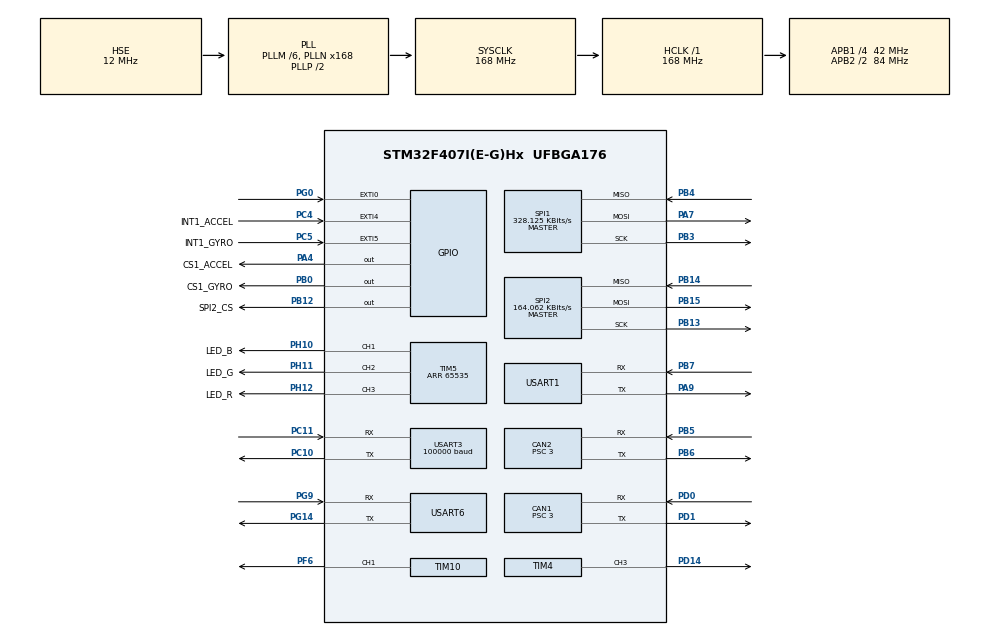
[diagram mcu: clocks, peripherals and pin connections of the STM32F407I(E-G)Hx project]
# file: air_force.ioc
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CAN1.BS1=CAN_BS1_10TQ
CAN1.BS2=CAN_BS2_3TQ
CAN1.CalculateBaudRate=1000000
CAN1.CalculateTimeBit=1000
CAN1.CalculateTimeQuantum=71.42857142857143
CAN1.Prescaler=3
CAN2.BS1=CAN_BS1_10TQ
CAN2.BS2=CAN_BS2_3TQ
CAN2.CalculateBaudRate=1000000
CAN2.CalculateTimeBit=1000
CAN2.CalculateTimeQuantum=71.42857142857143
CAN2.Prescaler=3
Dma.Request0=SPI1_RX
Dma.Request1=SPI1_TX
Dma.Request2=USART3_RX
Dma.Request3=USART6_RX
Dma.Request4=USART6_TX
Dma.SPI1_RX.0.Direction=DMA_PERIPH_TO_MEMORY
Dma.SPI1_RX.0.FIFOMode=DMA_FIFOMODE_DISABLE
Dma.SPI1_RX.0.Instance=DMA2_Stream2
Dma.SPI1_RX.0.MemDataAlignment=DMA_MDATAALIGN_BYTE
Dma.SPI1_RX.0.MemInc=DMA_MINC_ENABLE
Dma.SPI1_RX.0.Mode=DMA_NORMAL
Dma.SPI1_RX.0.PeriphDataAlignment=DMA_PDATAALIGN_BYTE
Dma.SPI1_RX.0.PeriphInc=DMA_PINC_DISABLE
Dma.SPI1_RX.0.Priority=DMA_PRIORITY_VERY_HIGH
Dma.SPI1_TX.1.Direction=DMA_MEMORY_TO_PERIPH
Dma.SPI1_TX.1.FIFOMode=DMA_FIFOMODE_DISABLE
Dma.SPI1_TX.1.Instance=DMA2_Stream3
Dma.SPI1_TX.1.MemDataAlignment=DMA_MDATAALIGN_BYTE
Dma.SPI1_TX.1.MemInc=DMA_MINC_ENABLE
Dma.SPI1_TX.1.Mode=DMA_NORMAL
Dma.SPI1_TX.1.PeriphDataAlignment=DMA_PDATAALIGN_BYTE
Dma.SPI1_TX.1.PeriphInc=DMA_PINC_DISABLE
Dma.SPI1_TX.1.Priority=DMA_PRIORITY_HIGH
Dma.USART3_RX.2.Direction=DMA_PERIPH_TO_MEMORY
Dma.USART3_RX.2.FIFOMode=DMA_FIFOMODE_DISABLE
Dma.USART3_RX.2.Instance=DMA1_Stream1
Dma.USART3_RX.2.MemDataAlignment=DMA_MDATAALIGN_BYTE
Dma.USART3_RX.2.MemInc=DMA_MINC_ENABLE
Dma.USART3_RX.2.Mode=DMA_CIRCULAR
Dma.USART3_RX.2.PeriphDataAlignment=DMA_PDATAALIGN_BYTE
Dma.USART3_RX.2.PeriphInc=DMA_PINC_DISABLE
Dma.USART3_RX.2.Priority=DMA_PRIORITY_HIGH
Dma.USART6_RX.3.Direction=DMA_PERIPH_TO_MEMORY
Dma.USART6_RX.3.FIFOMode=DMA_FIFOMODE_DISABLE
Dma.USART6_RX.3.Instance=DMA2_Stream1
Dma.USART6_RX.3.MemDataAlignment=DMA_MDATAALIGN_BYTE
Dma.USART6_RX.3.MemInc=DMA_MINC_ENABLE
Dma.USART6_RX.3.Mode=DMA_NORMAL
Dma.USART6_RX.3.PeriphDataAlignment=DMA_PDATAALIGN_BYTE
Dma.USART6_RX.3.PeriphInc=DMA_PINC_DISABLE
Dma.USART6_RX.3.Priority=DMA_PRIORITY_HIGH
Dma.USART6_TX.4.Direction=DMA_MEMORY_TO_PERIPH
Dma.USART6_TX.4.FIFOMode=DMA_FIFOMODE_DISABLE
Dma.USART6_TX.4.Instance=DMA2_Stream6
Dma.USART6_TX.4.MemDataAlignment=DMA_MDATAALIGN_BYTE
Dma.USART6_TX.4.MemInc=DMA_MINC_ENABLE
Dma.USART6_TX.4.Mode=DMA_NORMAL
Dma.USART6_TX.4.PeriphDataAlignment=DMA_PDATAALIGN_BYTE
Dma.USART6_TX.4.PeriphInc=DMA_PINC_DISABLE
Dma.USART6_TX.4.Priority=DMA_PRIORITY_MEDIUM
FREERTOS.INCLUDE_eTaskGetState=1
FREERTOS.INCLUDE_pcTaskGetTaskName=1
FREERTOS.INCLUDE_uxTaskGetStackHighWaterMark=1
FREERTOS.INCLUDE_uxTaskGetStackHighWaterMark2=1
FREERTOS.INCLUDE_vTaskCleanUpResources=1
FREERTOS.INCLUDE_xQueueGetMutexHolder=1
FREERTOS.INCLUDE_xSemaphoreGetMutexHolder=1
FREERTOS.INCLUDE_xTaskAbortDelay=1
FREERTOS.INCLUDE_xTaskGetCurrentTaskHandle=1
FREERTOS.INCLUDE_xTaskGetHandle=1
FREERTOS.Tasks01=defaultTask,0,128,StartDefaultTask,Default,NULL,Dynamic,NULL,NULL;led_task,-2,128,Led_Task,As weak,NULL,Dynamic,NULL,NULL;ins_task,2,1024,Ins_Task,As weak,NULL,Dynamic,NULL,NULL;calibrate_task,0,128,Calibrate_Task,As weak,NULL,Dynamic,NULL,NULL;buzzer_task,0,128,Buzzer_Task,As weak,NULL,Dynamic,NULL,NULL;PS2_Control,0,128,PS2_task,As weak,NULL,Dynamic,NULL,NULL;Move_Task,2,1024,move_task,As weak,NULL,Dynamic,NULL,NULL;ModeSet_Task,1,128,mode_set_task,As weak,NULL,Dynamic,NULL,NULL
Mcu.Family=STM32F4
Mcu.Name=STM32F407I(E-G)Hx
Mcu.Package=UFBGA176
NVIC.CAN1_RX0_IRQn=true\:5\:0\:false\:false\:true\:true\:true\:true\:true
NVIC.CAN2_RX0_IRQn=true\:5\:0\:false\:false\:true\:true\:true\:true\:true
NVIC.DMA1_Stream1_IRQn=true\:5\:0\:false\:false\:true\:true\:false\:true\:true
NVIC.DMA2_Stream1_IRQn=true\:5\:0\:false\:false\:true\:true\:false\:true\:true
NVIC.DMA2_Stream2_IRQn=true\:5\:0\:false\:false\:false\:true\:false\:true\:true
NVIC.DMA2_Stream3_IRQn=true\:5\:0\:false\:false\:true\:true\:false\:true\:true
NVIC.DMA2_Stream6_IRQn=true\:5\:0\:false\:false\:true\:true\:false\:true\:true
NVIC.EXTI0_IRQn=true\:5\:0\:true\:false\:true\:true\:true\:true\:true
NVIC.EXTI4_IRQn=true\:5\:0\:false\:false\:true\:true\:true\:true\:true
NVIC.EXTI9_5_IRQn=true\:5\:0\:false\:false\:true\:true\:true\:true\:true
NVIC.PriorityGroup=NVIC_PRIORITYGROUP_4
NVIC.TIM3_IRQn=true\:15\:0\:false\:false\:true\:false\:false\:true\:true
NVIC.TIM7_IRQn=true\:5\:0\:false\:false\:true\:true\:true\:true\:true
NVIC.TimeBase=TIM3_IRQn
NVIC.TimeBaseIP=TIM3
NVIC.USART1_IRQn=true\:5\:0\:false\:false\:true\:true\:true\:true\:true
NVIC.USART3_IRQn=true\:5\:0\:false\:false\:false\:true\:true\:true\:true
NVIC.USART6_IRQn=true\:5\:0\:false\:false\:false\:true\:true\:true\:true
PA13.Mode=Serial_Wire
PA13.Signal=SYS_JTMS-SWDIO
PA14.Mode=Serial_Wire
PA14.Signal=SYS_JTCK-SWCLK
PA4.GPIO_Label=CS1_ACCEL
PA4.GPIO_PuPd=GPIO_PULLUP
PA4.GPIO_Speed=GPIO_SPEED_FREQ_HIGH
PA4.PinState=GPIO_PIN_SET
PA4.Signal=GPIO_Output
PA7.GPIO_PuPd=GPIO_PULLUP
PA7.Mode=Full_Duplex_Master
PA7.Signal=SPI1_MOSI
PA9.Mode=Asynchronous
PA9.Signal=USART1_TX
PB0.GPIO_Label=CS1_GYRO
PB0.GPIO_PuPd=GPIO_PULLUP
PB0.GPIO_Speed=GPIO_SPEED_FREQ_HIGH
PB0.PinState=GPIO_PIN_SET
PB0.Signal=GPIO_Output
PB12.GPIO_Label=SPI2_CS
PB12.GPIO_PuPd=GPIO_PULLUP
PB12.GPIO_Speed=GPIO_SPEED_FREQ_MEDIUM
PB12.PinState=GPIO_PIN_SET
PB12.Signal=GPIO_Output
PB13.GPIO_PuPd=GPIO_PULLUP
PB13.Mode=Full_Duplex_Master
PB13.Signal=SPI2_SCK
PB14.GPIO_PuPd=GPIO_PULLUP
PB14.Mode=Full_Duplex_Master
PB14.Signal=SPI2_MISO
PB15.GPIO_PuPd=GPIO_PULLUP
PB15.Mode=Full_Duplex_Master
PB15.Signal=SPI2_MOSI
PB3.GPIO_PuPd=GPIO_PULLUP
PB3.Mode=Full_Duplex_Master
PB3.Signal=SPI1_SCK
PB4.GPIO_PuPd=GPIO_PULLUP
PB4.Mode=Full_Duplex_Master
PB4.Signal=SPI1_MISO
PB5.Mode=CAN_Activate
PB5.Signal=CAN2_RX
PB6.Mode=CAN_Activate
PB6.Signal=CAN2_TX
PB7.Mode=Asynchronous
PB7.Signal=USART1_RX
PC10.Mode=Asynchronous
PC10.Signal=USART3_TX
PC11.Mode=Asynchronous
PC11.Signal=USART3_RX
PC4.GPIO_Label=INT1_ACCEL
PC4.GPIO_PuPd=GPIO_PULLUP
PC4.Signal=GPXTI4
PC5.GPIO_Label=INT1_GYRO
PC5.GPIO_PuPd=GPIO_PULLUP
PC5.Signal=GPXTI5
PD0.Mode=CAN_Activate
PD0.Signal=CAN1_RX
PD1.Mode=CAN_Activate
PD1.Signal=CAN1_TX
PD14.Signal=S_TIM4_CH3
PF6.GPIO_PuPd=GPIO_PULLUP
PF6.GPIO_Speed=GPIO_SPEED_FREQ_HIGH
PF6.Signal=S_TIM10_CH1
PG0.Signal=GPXTI0
PG14.Mode=Asynchronous
PG14.Signal=USART6_TX
PG9.Mode=Asynchronous
PG9.Signal=USART6_RX
PH0-OSC_IN.Mode=HSE-External-Oscillator
PH0-OSC_IN.Signal=RCC_OSC_IN
PH1-OSC_OUT.Mode=HSE-External-Oscillator
PH1-OSC_OUT.Signal=RCC_OSC_OUT
PH10.GPIO_Label=LED_B
PH10.GPIO_PuPd=GPIO_PULLUP
PH10.Signal=S_TIM5_CH1
PH11.GPIO_Label=LED_G
PH11.GPIO_PuPd=GPIO_PULLUP
PH11.Signal=S_TIM5_CH2
PH12.GPIO_Label=LED_R
PH12.GPIO_PuPd=GPIO_PULLUP
PH12.Signal=S_TIM5_CH3
ProjectManager.HeapSize=0x200
ProjectManager.StackSize=0x400
ProjectManager.TargetToolchain=MDK-ARM V5
RCC.48MHZClocksFreq_Value=84000000
RCC.AHBFreq_Value=168000000
RCC.APB1CLKDivider=RCC_HCLK_DIV4
RCC.APB1Freq_Value=42000000
RCC.APB1TimFreq_Value=84000000
RCC.APB2CLKDivider=RCC_HCLK_DIV2
RCC.APB2Freq_Value=84000000
RCC.APB2TimFreq_Value=168000000
RCC.CortexFreq_Value=168000000
RCC.HCLKFreq_Value=168000000
RCC.HSE_VALUE=12000000
RCC.HSI_VALUE=16000000
RCC.LSE_VALUE=32768
RCC.PLLM=6
RCC.PLLN=168
RCC.PLLSourceVirtual=RCC_PLLSOURCE_HSE
RCC.SYSCLKFreq_VALUE=168000000
RCC.SYSCLKSource=RCC_SYSCLKSOURCE_PLLCLK
RCC.VCOOutputFreq_Value=336000000
SH.S_TIM10_CH1.0=TIM10_CH1,PWM Generation1 CH1
SH.S_TIM4_CH3.0=TIM4_CH3,PWM Generation3 CH3
SH.S_TIM5_CH1.0=TIM5_CH1,PWM Generation1 CH1
SH.S_TIM5_CH2.0=TIM5_CH2,PWM Generation2 CH2
SH.S_TIM5_CH3.0=TIM5_CH3,PWM Generation3 CH3
SPI1.BaudRatePrescaler=SPI_BAUDRATEPRESCALER_256
SPI1.CLKPhase=SPI_PHASE_2EDGE
SPI1.CLKPolarity=SPI_POLARITY_HIGH
SPI1.CalculateBaudRate=328.125 KBits/s
SPI1.Direction=SPI_DIRECTION_2LINES
SPI1.Mode=SPI_MODE_MASTER
SPI1.VirtualType=VM_MASTER
SPI2.BaudRatePrescaler=SPI_BAUDRATEPRESCALER_256
SPI2.CalculateBaudRate=164.062 KBits/s
SPI2.Direction=SPI_DIRECTION_2LINES
SPI2.FirstBit=SPI_FIRSTBIT_LSB
SPI2.Mode=SPI_MODE_MASTER
SPI2.VirtualType=VM_MASTER
TIM10.Channel=TIM_CHANNEL_1
TIM10.Period=5000-1
TIM4.Channel-PWM\ Generation3\ CH3=TIM_CHANNEL_3
TIM4.Prescaler=168-1
TIM5.Channel-PWM\ Generation1\ CH1=TIM_CHANNEL_1
TIM5.Channel-PWM\ Generation2\ CH2=TIM_CHANNEL_2
TIM5.Channel-PWM\ Generation3\ CH3=TIM_CHANNEL_3
TIM5.Period=65535
TIM7.Period=1000
TIM7.Prescaler=83
USART1.VirtualMode=VM_ASYNC
USART3.BaudRate=100000
USART3.Parity=PARITY_EVEN
USART3.VirtualMode=VM_ASYNC
USART3.WordLength=WORDLENGTH_8B
USART6.VirtualMode=VM_ASYNC
VP_FREERTOS_VS_CMSIS_V1.Mode=CMSIS_V1
VP_SYS_VS_tim3.Mode=TIM3
VP_TIM10_VS_ClockSourceINT.Mode=Enable_Timer
VP_TIM5_VS_ClockSourceINT.Mode=Internal
VP_TIM7_VS_ClockSourceINT.Mode=Enable_Timer
board=custom

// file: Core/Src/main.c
/* USER CODE BEGIN Header */
/**
  ******************************************************************************
  * @file           : main.c
  * @brief          : Main program body
  ******************************************************************************
  * @attention
  *
  * Copyright (c) 2024 STMicroelectronics.
  * All rights reserved.
  *
  * This software is licensed under terms that can be found in the LICENSE file
  * in the root directory of this software component.
  * If no LICENSE file comes with this software, it is provided AS-IS.
  *
  ******************************************************************************
  */
/* USER CODE END Header */
#include "main.h"
#include "cmsis_os.h"
#include "can.h"
#include "dma.h"
#include "spi.h"
#include "tim.h"
#include "usart.h"
#include "gpio.h"

/* USER CODE BEGIN Includes */
#include "bsp_can.h"
#include "bsp_usart.h"
#include "remote_control.h"
#include "bsp_delay.h"
/* USER CODE END Includes */

void SystemClock_Config(void);
void MX_FREERTOS_Init(void);

int main(void)
{

  /* MCU Configuration--------------------------------------------------------*/

  /* Reset of all peripherals, Initializes the Flash interface and the Systick. */
  HAL_Init();

  /* Configure the system clock */
  SystemClock_Config();

  /* Initialize all configured peripherals */
  MX_GPIO_Init();
  MX_DMA_Init();
  MX_CAN1_Init();
  MX_SPI1_Init();
  MX_CAN2_Init();
  MX_TIM5_Init();
  MX_TIM10_Init();
  MX_USART1_UART_Init();
  MX_USART3_UART_Init();
  MX_USART6_UART_Init();
  MX_TIM4_Init();
  MX_SPI2_Init();
  MX_TIM7_Init();
  /* USER CODE BEGIN 2 */
	HAL_Delay(1000);
	delay_init();//PS2手柄delay初始化

	//使能UART6接收和空闲中断
  __HAL_UART_ENABLE_IT(&huart6, UART_IT_RXNE);  //receive interrupt
  __HAL_UART_ENABLE_IT(&huart6, UART_IT_IDLE);  //idle interrupt

	HAL_TIM_Base_Start_IT(&htim7);
	HAL_TIM_PWM_Start(&htim4,TIM_CHANNEL_3);
	HAL_TIM_PWM_Start(&htim5,TIM_CHANNEL_1);
  HAL_TIM_PWM_Start(&htim5,TIM_CHANNEL_2);
  HAL_TIM_PWM_Start(&htim5,TIM_CHANNEL_3);
	HAL_TIM_PWM_Start(&htim10,TIM_CHANNEL_1);
  can_filter_init();
	remote_control_init();
  /* USER CODE END 2 */

  /* Call init function for freertos objects (in freertos.c) */
  MX_FREERTOS_Init();

  /* Start scheduler */
  osKernelStart();

  /* We should never get here as control is now taken by the scheduler */
  /* Infinite loop */
  while (1)
  {

  }
}

void SystemClock_Config(void)
{
  RCC_OscInitTypeDef RCC_OscInitStruct = {0};
  RCC_ClkInitTypeDef RCC_ClkInitStruct = {0};

  /** Configure the main internal regulator output voltage
  */
  __HAL_RCC_PWR_CLK_ENABLE();
  __HAL_PWR_VOLTAGESCALING_CONFIG(PWR_REGULATOR_VOLTAGE_SCALE1);

  /** Initializes the RCC Oscillators according to the specified parameters
  * in the RCC_OscInitTypeDef structure.
  */
  RCC_OscInitStruct.OscillatorType = RCC_OSCILLATORTYPE_HSE;
  RCC_OscInitStruct.HSEState = RCC_HSE_ON;
  RCC_OscInitStruct.PLL.PLLState = RCC_PLL_ON;
  RCC_OscInitStruct.PLL.PLLSource = RCC_PLLSOURCE_HSE;
  RCC_OscInitStruct.PLL.PLLM = 6;
  RCC_OscInitStruct.PLL.PLLN = 168;
  RCC_OscInitStruct.PLL.PLLP = RCC_PLLP_DIV2;
  RCC_OscInitStruct.PLL.PLLQ = 4;
  if (HAL_RCC_OscConfig(&RCC_OscInitStruct) != HAL_OK)
  {
    Error_Handler();
  }

  /** Initializes the CPU, AHB and APB buses clocks
  */
  RCC_ClkInitStruct.ClockType = RCC_CLOCKTYPE_HCLK|RCC_CLOCKTYPE_SYSCLK
                              |RCC_CLOCKTYPE_PCLK1|RCC_CLOCKTYPE_PCLK2;
  RCC_ClkInitStruct.SYSCLKSource = RCC_SYSCLKSOURCE_PLLCLK;
  RCC_ClkInitStruct.AHBCLKDivider = RCC_SYSCLK_DIV1;
  RCC_ClkInitStruct.APB1CLKDivider = RCC_HCLK_DIV4;
  RCC_ClkInitStruct.APB2CLKDivider = RCC_HCLK_DIV2;

  if (HAL_RCC_ClockConfig(&RCC_ClkInitStruct, FLASH_LATENCY_5) != HAL_OK)
  {
    Error_Handler();
  }
}

void HAL_TIM_PeriodElapsedCallback(TIM_HandleTypeDef *htim)
{
  if (htim->Instance == TIM3) {
    HAL_IncTick();
  }
}

void Error_Handler(void)
{
  __disable_irq();
  while (1)
  {
  }
}

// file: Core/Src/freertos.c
/* USER CODE BEGIN Header */
/**
  ******************************************************************************
  * File Name          : freertos.c
  * Description        : Code for freertos applications
  ******************************************************************************
  * @attention
  *
  * Copyright (c) 2024 STMicroelectronics.
  * All rights reserved.
  *
  * This software is licensed under terms that can be found in the LICENSE file
  * in the root directory of this software component.
  * If no LICENSE file comes with this software, it is provided AS-IS.
  *
  ******************************************************************************
  */
/* USER CODE END Header */

#include "FreeRTOS.h"
#include "task.h"
#include "main.h"
#include "cmsis_os.h"

osThreadId defaultTaskHandle;
osThreadId led_taskHandle;
osThreadId ins_taskHandle;
osThreadId calibrate_taskHandle;
osThreadId buzzer_taskHandle;
osThreadId PS2_ControlHandle;
osThreadId Move_TaskHandle;
osThreadId ModeSet_TaskHandle;

void StartDefaultTask(void const * argument);
void Led_Task(void const * argument);
void Ins_Task(void const * argument);
void Calibrate_Task(void const * argument);
void Buzzer_Task(void const * argument);
void PS2_task(void const * argument);
void move_task(void const * argument);
void mode_set_task(void const * argument);

void MX_FREERTOS_Init(void); /* (MISRA C 2004 rule 8.1) */

/* GetIdleTaskMemory prototype (linked to static allocation support) */
void vApplicationGetIdleTaskMemory( StaticTask_t **ppxIdleTaskTCBBuffer, StackType_t **ppxIdleTaskStackBuffer, uint32_t *pulIdleTaskStackSize );

/* USER CODE BEGIN GET_IDLE_TASK_MEMORY */
static StaticTask_t xIdleTaskTCBBuffer;
static StackType_t xIdleStack[configMINIMAL_STACK_SIZE];

void vApplicationGetIdleTaskMemory( StaticTask_t **ppxIdleTaskTCBBuffer, StackType_t **ppxIdleTaskStackBuffer, uint32_t *pulIdleTaskStackSize )
{
  *ppxIdleTaskTCBBuffer = &xIdleTaskTCBBuffer;
  *ppxIdleTaskStackBuffer = &xIdleStack[0];
  *pulIdleTaskStackSize = configMINIMAL_STACK_SIZE;
  /* place for user code */
}
/* USER CODE END GET_IDLE_TASK_MEMORY */

void MX_FREERTOS_Init(void) {

  /* Create the thread(s) */
  /* definition and creation of defaultTask */
  osThreadDef(defaultTask, StartDefaultTask, osPriorityNormal, 0, 128);
  defaultTaskHandle = osThreadCreate(osThread(defaultTask), NULL);

  /* definition and creation of led_task */
  osThreadDef(led_task, Led_Task, osPriorityLow, 0, 128);
  led_taskHandle = osThreadCreate(osThread(led_task), NULL);

  /* definition and creation of ins_task */
  osThreadDef(ins_task, Ins_Task, osPriorityHigh, 0, 1024);
  ins_taskHandle = osThreadCreate(osThread(ins_task), NULL);

  /* definition and creation of calibrate_task */
  osThreadDef(calibrate_task, Calibrate_Task, osPriorityNormal, 0, 128);
  calibrate_taskHandle = osThreadCreate(osThread(calibrate_task), NULL);

  /* definition and creation of buzzer_task */
  osThreadDef(buzzer_task, Buzzer_Task, osPriorityNormal, 0, 128);
  buzzer_taskHandle = osThreadCreate(osThread(buzzer_task), NULL);

  /* definition and creation of PS2_Control */
  osThreadDef(PS2_Control, PS2_task, osPriorityNormal, 0, 128);
  PS2_ControlHandle = osThreadCreate(osThread(PS2_Control), NULL);

  /* definition and creation of Move_Task */
  osThreadDef(Move_Task, move_task, osPriorityHigh, 0, 1024);
  Move_TaskHandle = osThreadCreate(osThread(Move_Task), NULL);

  /* definition and creation of ModeSet_Task */
  osThreadDef(ModeSet_Task, mode_set_task, osPriorityAboveNormal, 0, 128);
  ModeSet_TaskHandle = osThreadCreate(osThread(ModeSet_Task), NULL);

}

void StartDefaultTask(void const * argument)
{
  for(;;)
  {
    osDelay(1);
  }
}

__weak void Led_Task(void const * argument)
{
  for(;;)
  {
    osDelay(1);
  }
}

__weak void Ins_Task(void const * argument)
{
  for(;;)
  {
    osDelay(1);
  }
}

__weak void Calibrate_Task(void const * argument)
{
  for(;;)
  {
    osDelay(1);
  }
}

__weak void Buzzer_Task(void const * argument)
{
  for(;;)
  {
    osDelay(1);
  }
}

__weak void PS2_task(void const * argument)
{
  for(;;)
  {
    osDelay(1);
  }
}

__weak void move_task(void const * argument)
{
  for(;;)
  {
    osDelay(1);
  }
}

__weak void mode_set_task(void const * argument)
{
  for(;;)
  {
    osDelay(1);
  }
}
